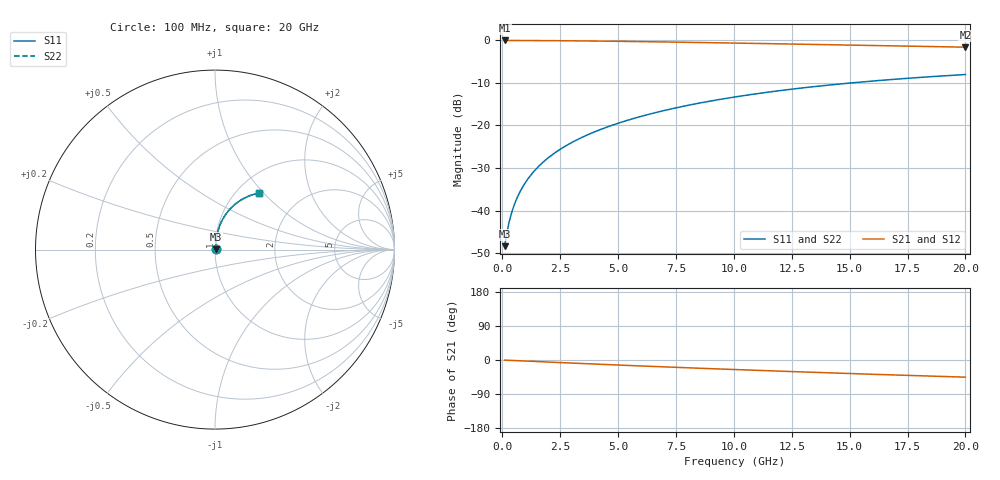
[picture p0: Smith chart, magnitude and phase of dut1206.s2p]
! Touchstone file exported from HFSS 2024.1.0
!  File:  C:/UserFiles/LocalFiles/RDL_TSV_Batchsim/temp_RDL_top_1206_1780239638.aedt
!  Generated:  11:03:19 PM May 31, 2026
!  Design:  RDL_top
!  Project:  temp_RDL_top_1206_1780239638
!  Setup:  Setup1
!  Solution:  Sweep
! Variables:
!  dtsv = 10.80580581um
!  hbump = 3um
!  htsv = 89.23um
!  ldown = 100um
!  lrdl = 652.46um
!  p = 40
!  p1 = 48.45um
!  rhole = 1um
!  t = 450um
!  tdown = 3.915915916um
!  trdl = 3.94um
!  wdown = 15.38538539um
!  wrdl = 20.3um
# GHz S MA R 50.000000
! Terminal data exported
! Port[1] = Box2_T1
! Port[2] = Box2_T2
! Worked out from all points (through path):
!   200 points, 100 MHz to 20 GHz, reference 50 ohm
!   highest |S21| = -0.03 dB at 100 MHz (marker M1); lowest = -1.6 dB at 20 GHz (marker M2)
!   group delay of S21, straight-line fit = 6.25 ps
!   lowest |S11| = -48.4 dB at 100 MHz (marker M3), VSWR 1.01, Z = 50.3 + j0.23 ohm
!   |S11| at or under -10 dB: start of sweep to 15.08 GHz
!   |S22| runs from -48.4 to -8.0 dB; largest |S21 - S12| = 4e-15
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0.1  0.003814 36.8  0.9969 -0.3  0.9969 -0.3  0.003814 36.8
! Gamma 0 0 0 0
! Port Impedance 50 0 50 0
0.2  0.005521 54.5  0.9968 -0.6  0.9968 -0.6  0.005521 54.5
0.3  0.007433 63.0  0.9966 -0.8  0.9966 -0.8  0.007433 63.0
0.4  0.009385 67.9  0.9964 -1.1  0.9964 -1.1  0.009384 67.9
0.5  0.01135 71.1  0.9962 -1.4  0.9962 -1.4  0.01135 71.2
0.6  0.01333 73.5  0.996 -1.7  0.996 -1.7  0.01333 73.5
0.8  0.01733 76.7  0.9956 -2.2  0.9956 -2.2  0.01732 76.7
1.1  0.0234 79.4  0.995 -3.0  0.995 -3.0  0.0234 79.4
1.3  0.02749 80.4  0.9945 -3.6  0.9945 -3.6  0.02749 80.4
1.6  0.03367 81.5  0.9936 -4.4  0.9936 -4.4  0.03367 81.5
2.1  0.04407 82.3  0.9918 -5.7  0.9918 -5.7  0.04407 82.3
2.7  0.05667 82.6  0.9891 -7.3  0.9891 -7.3  0.05667 82.6
3.5  0.07367 82.3  0.9847 -9.4  0.9847 -9.4  0.07368 82.3
4.2  0.08871 81.7  0.9801 -11.3  0.9801 -11.3  0.08874 81.7
5  0.1061 80.8  0.9743 -13.3  0.9743 -13.3  0.1061 80.8
6.8  0.1456 78.1  0.9593 -17.7  0.9593 -17.7  0.1457 78.1
8.4  0.1807 75.2  0.9447 -21.5  0.9447 -21.5  0.1808 75.2
10.1  0.2173 71.9  0.9285 -25.3  0.9285 -25.3  0.2175 71.9
11.7  0.2507 68.7  0.9128 -28.8  0.9128 -28.8  0.2509 68.7
13.4  0.2846 65.2  0.896 -32.4  0.896 -32.4  0.2848 65.2
16.7  0.3447 58.6  0.8632 -39.1  0.8632 -39.1  0.345 58.6
20  0.3967 52.3  0.8312 -45.3  0.8312 -45.3  0.3971 52.4
